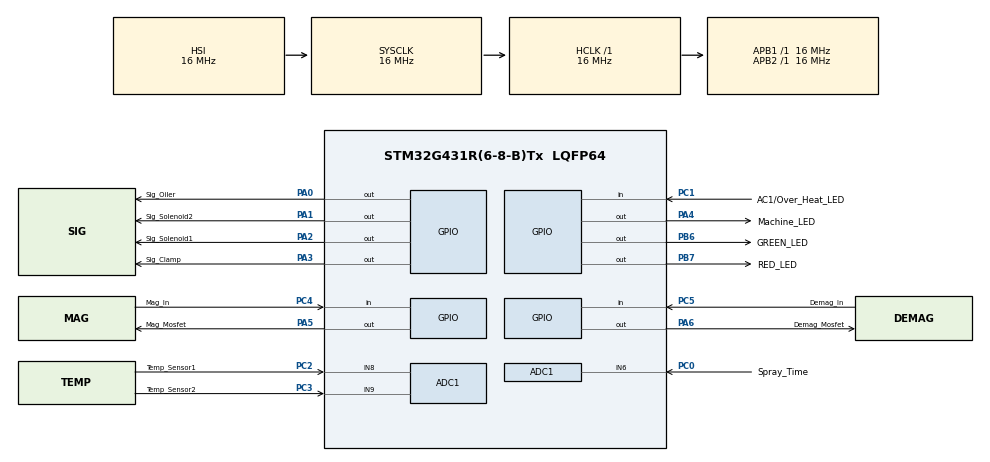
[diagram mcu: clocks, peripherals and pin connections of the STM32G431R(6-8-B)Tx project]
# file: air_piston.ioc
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ADC1.Channel-1\#ChannelRegularConversion=ADC_CHANNEL_8
ADC1.NbrOfConversionFlag=1
ADC1.OffsetNumber-1\#ChannelRegularConversion=ADC_OFFSET_NONE
ADC1.Rank-1\#ChannelRegularConversion=1
ADC1.SamplingTime-1\#ChannelRegularConversion=ADC_SAMPLETIME_2CYCLES_5
ADC1.master=1
Mcu.Family=STM32G4
Mcu.Name=STM32G431R(6-8-B)Tx
Mcu.Package=LQFP64
NVIC.PriorityGroup=NVIC_PRIORITYGROUP_4
PA0.GPIO_Label=Sig_Oiler
PA0.Signal=GPIO_Output
PA1.GPIO_Label=Sig_Solenoid2
PA1.Signal=GPIO_Output
PA2.GPIO_Label=Sig_Solenoid1
PA2.Signal=GPIO_Output
PA3.GPIO_Label=Sig_Clamp
PA3.Signal=GPIO_Output
PA4.GPIO_Label=Machine_LED
PA4.Signal=GPIO_Output
PA5.GPIO_Label=Mag_Mosfet
PA5.Signal=GPIO_Output
PA6.GPIO_Label=Demag_Mosfet
PA6.Signal=GPIO_Output
PB6.GPIO_Label=GREEN_LED
PB6.Signal=GPIO_Output
PB7.GPIO_Label=RED_LED
PB7.Signal=GPIO_Output
PC0.GPIO_Label=Spray_Time
PC0.Mode=IN6-Single-Ended
PC0.Signal=ADC1_IN6
PC1.GPIO_Label=AC1/Over_Heat_LED
PC1.GPIO_PuPd=GPIO_PULLDOWN
PC1.Signal=GPIO_Input
PC2.GPIO_Label=Temp_Sensor1
PC2.Mode=IN8-Single-Ended
PC2.Signal=ADC1_IN8
PC3.GPIO_Label=Temp_Sensor2
PC3.Mode=IN9-Single-Ended
PC3.Signal=ADC1_IN9
PC4.GPIO_Label=Mag_In
PC4.Signal=GPIO_Input
PC5.GPIO_Label=Demag_In
PC5.Signal=GPIO_Input
PF0-OSC_IN.Mode=HSE-External-Oscillator
PF0-OSC_IN.Signal=RCC_OSC_IN
PF1-OSC_OUT.Mode=HSE-External-Oscillator
PF1-OSC_OUT.Signal=RCC_OSC_OUT
ProjectManager.HeapSize=0x200
ProjectManager.StackSize=0x400
ProjectManager.TargetToolchain=STM32CubeIDE
RCC.AHBFreq_Value=16000000
RCC.APB1Freq_Value=16000000
RCC.APB1TimFreq_Value=16000000
RCC.APB2Freq_Value=16000000
RCC.APB2TimFreq_Value=16000000
RCC.CortexFreq_Value=16000000
RCC.EXTERNAL_CLOCK_VALUE=12288000
RCC.HCLKFreq_Value=16000000
RCC.HSE_VALUE=24000000
RCC.HSI48_VALUE=48000000
RCC.HSI_VALUE=16000000
RCC.LSE_VALUE=32768
RCC.SYSCLKFreq_VALUE=16000000
RCC.USBFreq_Value=64000000
RCC.VCOOutputFreq_Value=128000000
VP_SYS_VS_DBSignals.Mode=DisableDeadBatterySignals
board=custom

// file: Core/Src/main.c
/* USER CODE BEGIN Header */
/**
  ******************************************************************************
  * @file           : main.c
  * @brief          : Main program body
  ******************************************************************************
  * @attention
  *
  * Copyright (c) 2025 STMicroelectronics.
  * All rights reserved.
  *
  * This software is licensed under terms that can be found in the LICENSE file
  * in the root directory of this software component.
  * If no LICENSE file comes with this software, it is provided AS-IS.
  *
  ******************************************************************************
  */
/* USER CODE END Header */
#include "main.h"

ADC_HandleTypeDef hadc1;

/* USER CODE BEGIN PV */

uint16_t Time_Delay1;
int Time_Delay2;
int D_Time;
int T_Fact=3; // MS/Step for PISS delay
int W_Time=600; // MS Wait time for shot delays and other timings

int Temp_Sensor1;
int Temp_Sensor2;

int Trigger1=10;
int Trigger2=19;

int SCR_STATUS;

// Buss Bar Sensor ( Future )
float MAX_TEMP = 38.0; // F 102.2 Shutdowm point in C.
float COOL_TEMP = 34.0; // F 96.8 Min Temp to Re-enable Circuit

/* USER CODE END PV */

void SystemClock_Config(void);
static void MX_GPIO_Init(void);
static void MX_ADC1_Init(void);
/* USER CODE BEGIN PFP */
uint16_t analogRead(uint32_t channel);
void Std_Mag();
void AutoMag();
void Mag_Shot();
void Demag();
void Water_On();
void Water_Off();
void Clamp();
void UnClamp();
void Piss();
void Temp_Check();
void SCR_ON();
void SCR_OFF();
void PGM_MODE();
void MAG_SETUP();
/* USER CODE END PFP */

int main(void)
{

  /* MCU Configuration--------------------------------------------------------*/

  /* Reset of all peripherals, Initializes the Flash interface and the Systick. */
  HAL_Init();

  /* Configure the system clock */
  SystemClock_Config();

  /* Initialize all configured peripherals */
  MX_GPIO_Init();
  MX_ADC1_Init();
  /* USER CODE BEGIN 2 */
//  HAL_Delay(100);
  SCR_OFF();  // Make sure that we assume that it is overheated at power up!

	HAL_GPIO_WritePin(RED_LED_GPIO_Port, RED_LED_Pin, GPIO_PIN_SET); // Red LED on
	HAL_GPIO_WritePin(GREEN_LED_GPIO_Port, GREEN_LED_Pin, GPIO_PIN_RESET); // Green LED on
	HAL_Delay(1000);
	HAL_GPIO_WritePin(RED_LED_GPIO_Port, RED_LED_Pin, GPIO_PIN_SET); // Red LED on
	HAL_GPIO_WritePin(GREEN_LED_GPIO_Port, GREEN_LED_Pin, GPIO_PIN_SET); // Green LED on
	HAL_Delay(1000);
	HAL_GPIO_WritePin(RED_LED_GPIO_Port, RED_LED_Pin, GPIO_PIN_RESET); // Red LED off
	HAL_GPIO_WritePin(GREEN_LED_GPIO_Port, GREEN_LED_Pin, GPIO_PIN_SET); // Green LED on
	HAL_Delay(1000);
	HAL_GPIO_WritePin(RED_LED_GPIO_Port, RED_LED_Pin, GPIO_PIN_RESET); // Red LED off
	HAL_GPIO_WritePin(GREEN_LED_GPIO_Port, GREEN_LED_Pin, GPIO_PIN_RESET); // Green LED on
  /* USER CODE END 2 */

  /* Infinite loop */
  /* USER CODE BEGIN WHILE */
  while (1)
  {
	  Time_Delay1 = analogRead(6);
	    D_Time=(Time_Delay1*T_Fact);

	    Temp_Check();
	    if(SCR_STATUS!=0){
	      if((HAL_GPIO_ReadPin(Mag_In_GPIO_Port, Mag_In_Pin) == GPIO_PIN_RESET)&&(Time_Delay1>0)){
	        AutoMag(); // Magnatize
	      }
	      if((HAL_GPIO_ReadPin(Demag_In_GPIO_Port, Demag_In_Pin) == GPIO_PIN_RESET)&&(Time_Delay1>0)){
	        Demag(); // De-Magnatize
	      }
	      if((HAL_GPIO_ReadPin(Mag_In_GPIO_Port, Mag_In_Pin) == GPIO_PIN_RESET)&&(Time_Delay1==0)){
	        Std_Mag(); // Magnatize
	      }

	    }
	    if(HAL_GPIO_ReadPin(AC1_Over_Heat_LED_GPIO_Port, AC1_Over_Heat_LED_Pin) == GPIO_PIN_SET){
	      PGM_MODE();
	    }
	    if((SCR_STATUS==0)){
	    	HAL_GPIO_WritePin(GREEN_LED_GPIO_Port, GREEN_LED_Pin, GPIO_PIN_RESET); // Green LED off
	    	HAL_GPIO_WritePin(RED_LED_GPIO_Port, RED_LED_Pin, GPIO_PIN_SET); // Red LED on
	    }
	    if((SCR_STATUS==1)){
	    	HAL_GPIO_WritePin(GREEN_LED_GPIO_Port, GREEN_LED_Pin, GPIO_PIN_SET); // Green LED On
	    	HAL_GPIO_WritePin(RED_LED_GPIO_Port, RED_LED_Pin, GPIO_PIN_RESET); // Red LED Off
	    }
    /* USER CODE END WHILE */

  }
}

void SystemClock_Config(void)
{
  RCC_OscInitTypeDef RCC_OscInitStruct = {0};
  RCC_ClkInitTypeDef RCC_ClkInitStruct = {0};

  /** Configure the main internal regulator output voltage
  */
  HAL_PWREx_ControlVoltageScaling(PWR_REGULATOR_VOLTAGE_SCALE1);

  /** Initializes the RCC Oscillators according to the specified parameters
  * in the RCC_OscInitTypeDef structure.
  */
  RCC_OscInitStruct.OscillatorType = RCC_OSCILLATORTYPE_HSI;
  RCC_OscInitStruct.HSIState = RCC_HSI_ON;
  RCC_OscInitStruct.HSICalibrationValue = RCC_HSICALIBRATION_DEFAULT;
  RCC_OscInitStruct.PLL.PLLState = RCC_PLL_NONE;
  if (HAL_RCC_OscConfig(&RCC_OscInitStruct) != HAL_OK)
  {
    Error_Handler();
  }

  /** Initializes the CPU, AHB and APB buses clocks
  */
  RCC_ClkInitStruct.ClockType = RCC_CLOCKTYPE_HCLK|RCC_CLOCKTYPE_SYSCLK
                              |RCC_CLOCKTYPE_PCLK1|RCC_CLOCKTYPE_PCLK2;
  RCC_ClkInitStruct.SYSCLKSource = RCC_SYSCLKSOURCE_HSI;
  RCC_ClkInitStruct.AHBCLKDivider = RCC_SYSCLK_DIV1;
  RCC_ClkInitStruct.APB1CLKDivider = RCC_HCLK_DIV1;
  RCC_ClkInitStruct.APB2CLKDivider = RCC_HCLK_DIV1;

  if (HAL_RCC_ClockConfig(&RCC_ClkInitStruct, FLASH_LATENCY_0) != HAL_OK)
  {
    Error_Handler();
  }
}

static void MX_ADC1_Init(void)
{

  ADC_MultiModeTypeDef multimode = {0};
  ADC_ChannelConfTypeDef sConfig = {0};

  /** Common config
  */
  hadc1.Instance = ADC1;
  hadc1.Init.ClockPrescaler = ADC_CLOCK_SYNC_PCLK_DIV2;
  hadc1.Init.Resolution = ADC_RESOLUTION_12B;
  hadc1.Init.DataAlign = ADC_DATAALIGN_RIGHT;
  hadc1.Init.GainCompensation = 0;
  hadc1.Init.ScanConvMode = ADC_SCAN_DISABLE;
  hadc1.Init.EOCSelection = ADC_EOC_SINGLE_CONV;
  hadc1.Init.LowPowerAutoWait = DISABLE;
  hadc1.Init.ContinuousConvMode = DISABLE;
  hadc1.Init.NbrOfConversion = 1;
  hadc1.Init.DiscontinuousConvMode = DISABLE;
  hadc1.Init.ExternalTrigConv = ADC_SOFTWARE_START;
  hadc1.Init.ExternalTrigConvEdge = ADC_EXTERNALTRIGCONVEDGE_NONE;
  hadc1.Init.DMAContinuousRequests = DISABLE;
  hadc1.Init.Overrun = ADC_OVR_DATA_PRESERVED;
  hadc1.Init.OversamplingMode = DISABLE;
  if (HAL_ADC_Init(&hadc1) != HAL_OK)
  {
    Error_Handler();
  }

  /** Configure the ADC multi-mode
  */
  multimode.Mode = ADC_MODE_INDEPENDENT;
  if (HAL_ADCEx_MultiModeConfigChannel(&hadc1, &multimode) != HAL_OK)
  {
    Error_Handler();
  }

  /** Configure Regular Channel
  */
  sConfig.Channel = ADC_CHANNEL_8;
  sConfig.Rank = ADC_REGULAR_RANK_1;
  sConfig.SamplingTime = ADC_SAMPLETIME_2CYCLES_5;
  sConfig.SingleDiff = ADC_SINGLE_ENDED;
  sConfig.OffsetNumber = ADC_OFFSET_NONE;
  sConfig.Offset = 0;
  if (HAL_ADC_ConfigChannel(&hadc1, &sConfig) != HAL_OK)
  {
    Error_Handler();
  }

}

static void MX_GPIO_Init(void)
{
  GPIO_InitTypeDef GPIO_InitStruct = {0};

  /* GPIO Ports Clock Enable */
  __HAL_RCC_GPIOF_CLK_ENABLE();
  __HAL_RCC_GPIOC_CLK_ENABLE();
  __HAL_RCC_GPIOA_CLK_ENABLE();
  __HAL_RCC_GPIOB_CLK_ENABLE();

  /*Configure GPIO pin Output Level */
  HAL_GPIO_WritePin(GPIOA, Sig_Oiler_Pin|Sig_Solenoid2_Pin|Sig_Solenoid1_Pin|Sig_Clamp_Pin
                          |Machine_LED_Pin|Mag_Mosfet_Pin|Demag_Mosfet_Pin, GPIO_PIN_RESET);

  /*Configure GPIO pin Output Level */
  HAL_GPIO_WritePin(GPIOB, GREEN_LED_Pin|RED_LED_Pin, GPIO_PIN_RESET);

  /*Configure GPIO pin : AC1_Over_Heat_LED_Pin */
  GPIO_InitStruct.Pin = AC1_Over_Heat_LED_Pin;
  GPIO_InitStruct.Mode = GPIO_MODE_INPUT;
  GPIO_InitStruct.Pull = GPIO_PULLDOWN;
  HAL_GPIO_Init(AC1_Over_Heat_LED_GPIO_Port, &GPIO_InitStruct);

  /*Configure GPIO pins : Sig_Oiler_Pin Sig_Solenoid2_Pin Sig_Solenoid1_Pin Sig_Clamp_Pin
                           Machine_LED_Pin Mag_Mosfet_Pin Demag_Mosfet_Pin */
  GPIO_InitStruct.Pin = Sig_Oiler_Pin|Sig_Solenoid2_Pin|Sig_Solenoid1_Pin|Sig_Clamp_Pin
                          |Machine_LED_Pin|Mag_Mosfet_Pin|Demag_Mosfet_Pin;
  GPIO_InitStruct.Mode = GPIO_MODE_OUTPUT_PP;
  GPIO_InitStruct.Pull = GPIO_NOPULL;
  GPIO_InitStruct.Speed = GPIO_SPEED_FREQ_LOW;
  HAL_GPIO_Init(GPIOA, &GPIO_InitStruct);

  /*Configure GPIO pins : Mag_In_Pin Demag_In_Pin */
  GPIO_InitStruct.Pin = Mag_In_Pin|Demag_In_Pin;
  GPIO_InitStruct.Mode = GPIO_MODE_INPUT;
  GPIO_InitStruct.Pull = GPIO_NOPULL;
  HAL_GPIO_Init(GPIOC, &GPIO_InitStruct);

  /*Configure GPIO pins : GREEN_LED_Pin RED_LED_Pin */
  GPIO_InitStruct.Pin = GREEN_LED_Pin|RED_LED_Pin;
  GPIO_InitStruct.Mode = GPIO_MODE_OUTPUT_PP;
  GPIO_InitStruct.Pull = GPIO_NOPULL;
  GPIO_InitStruct.Speed = GPIO_SPEED_FREQ_LOW;
  HAL_GPIO_Init(GPIOB, &GPIO_InitStruct);

}

/* USER CODE BEGIN 4 */
uint16_t analogRead(uint32_t channel) {

	ADC_ChannelConfTypeDef sConfig = {0};
	if (channel == 6)
		sConfig.Channel = ADC_CHANNEL_6;
	else if (channel == 8)
		sConfig.Channel = ADC_CHANNEL_8;
	else if (channel == 9)
		sConfig.Channel = ADC_CHANNEL_9;
	else
		Error_Handler();

	sConfig.Rank = ADC_REGULAR_RANK_1;
	sConfig.SamplingTime = ADC_SAMPLETIME_2CYCLES_5;
	sConfig.SingleDiff = ADC_SINGLE_ENDED;
	sConfig.OffsetNumber = ADC_OFFSET_NONE;
	sConfig.Offset = 0;
	if (HAL_ADC_ConfigChannel(&hadc1, &sConfig) != HAL_OK)
	{
	Error_Handler();
	}
	HAL_ADC_Start(&hadc1);
	HAL_ADC_PollForConversion(&hadc1, 10);
	uint16_t val = HAL_ADC_GetValue(&hadc1);
	HAL_ADC_Stop(&hadc1);
	return val/4*3.3/5; // 4096->1024 and 5V to 3.3V conversion. legacy to new board
}
void Std_Mag()
{
 Clamp();
 HAL_Delay(1000);
 Mag_Shot();
 HAL_Delay(600);
 Mag_Shot();
 HAL_Delay(600);
 UnClamp();
}

void AutoMag()
{
  Clamp();
  HAL_Delay(W_Time); // Delay to get hand out of the way.
  Mag_Shot();
  HAL_Delay(W_Time); // Delay to prevent arcing.
  Water_On();
  HAL_Delay(500);
  Piss();
  Water_Off();
  Mag_Shot();
  HAL_Delay(W_Time);
  Mag_Shot();
  HAL_Delay(W_Time);
  HAL_Delay(W_Time);
  UnClamp();

}

#define Mag_Mosfet_Pin GPIO_PIN_5
#define Mag_Mosfet_GPIO_Port GPIOA
void Mag_Shot()
{
	HAL_GPIO_WritePin(Mag_Mosfet_GPIO_Port, Mag_Mosfet_Pin, GPIO_PIN_SET); // Mag Shot
	HAL_Delay(100); // Delay Time
	HAL_GPIO_WritePin(Mag_Mosfet_GPIO_Port, Mag_Mosfet_Pin, GPIO_PIN_RESET); // Mag Shot
}

void Demag()
{
   Clamp();
  HAL_Delay(1000);
  HAL_GPIO_WritePin(Demag_Mosfet_GPIO_Port, Demag_Mosfet_Pin, GPIO_PIN_SET); // DE-Mag Shot
  HAL_Delay(100); // Delay Time
  HAL_GPIO_WritePin(Mag_Mosfet_GPIO_Port, Mag_Mosfet_Pin, GPIO_PIN_RESET); // De-Mag Shot
  HAL_Delay(25000);
  UnClamp();
}

void Water_On()
{
	HAL_GPIO_WritePin(Sig_Solenoid1_GPIO_Port, Sig_Solenoid1_Pin, GPIO_PIN_RESET); // Water Solenoid 1
	HAL_GPIO_WritePin(Sig_Solenoid2_GPIO_Port, Sig_Solenoid2_Pin, GPIO_PIN_SET); // Water Solenoid 2
}

void Water_Off()
{
	HAL_GPIO_WritePin(Sig_Solenoid1_GPIO_Port, Sig_Solenoid1_Pin, GPIO_PIN_SET); // Water Solenoid 1
  HAL_GPIO_WritePin(Sig_Solenoid2_GPIO_Port, Sig_Solenoid2_Pin, GPIO_PIN_RESET); // Water Solenoid 2
}

void Clamp()
{
	HAL_GPIO_WritePin(Sig_Clamp_GPIO_Port, Sig_Clamp_Pin, GPIO_PIN_SET); // Clamp Head

}

void UnClamp()
{
	HAL_GPIO_WritePin(Sig_Clamp_GPIO_Port, Sig_Clamp_Pin, GPIO_PIN_RESET); // Clamp Head
}

void Piss()
{

	HAL_GPIO_WritePin(Sig_Oiler_GPIO_Port, Sig_Oiler_Pin, GPIO_PIN_SET); // Oiler On
	HAL_Delay(D_Time); // Delay Time
	HAL_GPIO_WritePin(Sig_Oiler_GPIO_Port, Sig_Oiler_Pin, GPIO_PIN_RESET);
}

void Temp_Check()
{
  Temp_Sensor1 = (analogRead(8)* 0.48828125);
  Temp_Sensor2 = (analogRead(9)* 0.48828125);
  if((Temp_Sensor1>=MAX_TEMP)||(Temp_Sensor2>=MAX_TEMP)){
    SCR_OFF();
  }
  if((Temp_Sensor1<=COOL_TEMP)&&(Temp_Sensor2<=COOL_TEMP)){
    SCR_ON();
  }
}

void SCR_ON(){
	HAL_GPIO_WritePin(Machine_LED_GPIO_Port, Machine_LED_Pin, GPIO_PIN_RESET);
	SCR_STATUS=1;
}

void SCR_OFF(){
	HAL_GPIO_WritePin(Machine_LED_GPIO_Port, Machine_LED_Pin, GPIO_PIN_SET);
	SCR_STATUS=0;
}

void PGM_MODE()
{
	//PGM Mode On
 while(HAL_GPIO_ReadPin(AC1_Over_Heat_LED_GPIO_Port, AC1_Over_Heat_LED_Pin) == GPIO_PIN_SET){

  Time_Delay1 = analogRead(6); //Spray Time
  D_Time=(Time_Delay1*T_Fact);

  Temp_Check();
  if(SCR_STATUS!=0){
    if((HAL_GPIO_ReadPin(Demag_In_GPIO_Port, Demag_In_Pin) == GPIO_PIN_RESET)&&(Time_Delay1>0)){
      Piss(); // Magnetize
      HAL_Delay(D_Time); // Return Delay Time
    }
    if(HAL_GPIO_ReadPin(Mag_In_GPIO_Port, Mag_In_Pin) == GPIO_PIN_RESET){
      Clamp();
      MAG_SETUP(); // De-Magnatize
      UnClamp();
    }
   }
 }
}

void MAG_SETUP()
{
   while(HAL_GPIO_ReadPin(AC1_Over_Heat_LED_GPIO_Port, AC1_Over_Heat_LED_Pin) == GPIO_PIN_SET){
     if(HAL_GPIO_ReadPin(Demag_In_GPIO_Port, Demag_In_Pin) == GPIO_PIN_RESET){
       break;
     }
     if(HAL_GPIO_ReadPin(Mag_In_GPIO_Port, Mag_In_Pin) == GPIO_PIN_RESET){
       Temp_Check();
       if(SCR_STATUS!=0){
         Mag_Shot();
       }
     }
   }
}

/* USER CODE END 4 */

void Error_Handler(void)
{
  /* USER CODE BEGIN Error_Handler_Debug */
  /* User can add his own implementation to report the HAL error return state */
  __disable_irq();
  while (1)
  {

	  	HAL_GPIO_WritePin(GREEN_LED_GPIO_Port, GREEN_LED_Pin, GPIO_PIN_SET); // Green LED On
	  	HAL_GPIO_WritePin(RED_LED_GPIO_Port, RED_LED_Pin, GPIO_PIN_SET); // Red LED On
	  	HAL_Delay(1000);
	  	HAL_GPIO_WritePin(GREEN_LED_GPIO_Port, GREEN_LED_Pin, GPIO_PIN_RESET); // Green LED On
	  	HAL_GPIO_WritePin(RED_LED_GPIO_Port, RED_LED_Pin, GPIO_PIN_RESET); // Red LED On
	  	HAL_Delay(1000);
  }
  /* USER CODE END Error_Handler_Debug */
}
